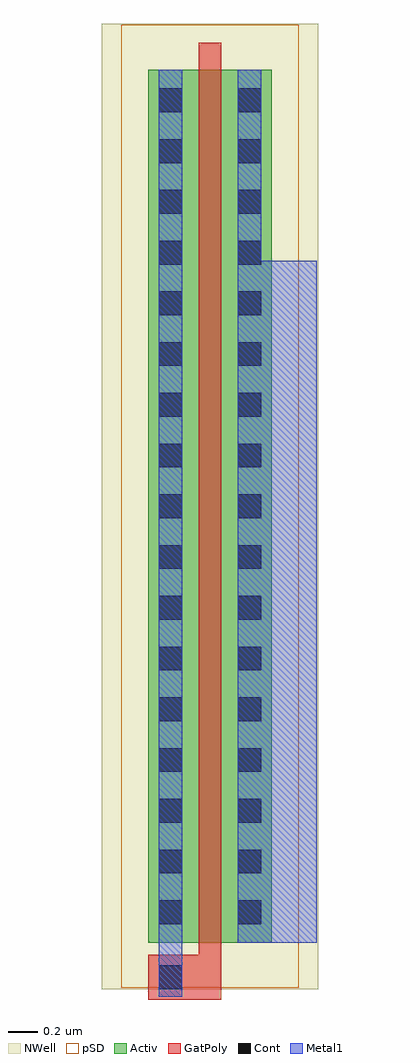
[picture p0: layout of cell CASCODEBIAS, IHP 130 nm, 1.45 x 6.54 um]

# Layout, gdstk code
from math import pi, radians
import gdstk
lib = gdstk.Library(unit=1e-6, precision=1e-09)
def R(c, l, rs):  # rectangles x0, y0, x1, y1
    for r in rs: c.add(gdstk.rectangle(r[:2], r[2:], *l))
def A(c, l, x, y, w, h, nx, ny, dx, dy):  # array of equal rectangles
    R(c, l, [(x+i*dx, y+j*dy, x+i*dx+w, y+j*dy+h) for i in range(nx) for j in range(ny)])
Activ = (1, 0)
GatPoly = (5, 0)
Cont = (6, 0)
Metal1 = (8, 0)
pSD = (14, 0)
NWell = (31, 0)

feol_contacts_3 = lib.new_cell('FEOL$contacts$3')
A(feol_contacts_3, Cont, 0.125, 0, 0.16, 0.16, 17, 1, 0.34, 0)
R(feol_contacts_3, Metal1, [(0,0,5.85,0.16)])

feol_contacts = lib.new_cell('FEOL$contacts')
R(feol_contacts, Cont, [(0.05,0,0.21,0.16)])
R(feol_contacts, Metal1, [(0,0,0.26,0.16)])

cascodebias = lib.new_cell('CASCODEBIAS')
R(cascodebias, Activ, [(-1.9,1.76,-1.07,7.61)])
R(cascodebias, GatPoly, [(-1.9,1.38,-1.41,1.68), (-1.56,1.68,-1.41,7.79)])
R(cascodebias, Metal1, [(-1.3,1.76,-0.77,6.33)])
R(cascodebias, pSD, [(-2.08,1.46,-0.89,7.91)])
R(cascodebias, NWell, [(-2.21,1.45,-0.76,7.92)])
cascodebias.add(gdstk.FlexPath([(-1.75,1.61),(-1.75,1.96)], 0.16, ends="flush", simple_path=True, layer=8, datatype=0))  # Metal1
cascodebias.add(gdstk.Reference(feol_contacts_3, (-1.67,1.76), rotation=pi/2))
cascodebias.add(gdstk.Reference(feol_contacts_3, (-1.14,1.76), rotation=pi/2))
cascodebias.add(gdstk.Reference(feol_contacts, (-1.67,1.4), rotation=pi/2))

lib.write_gds('CASCODEBIAS.gds')
